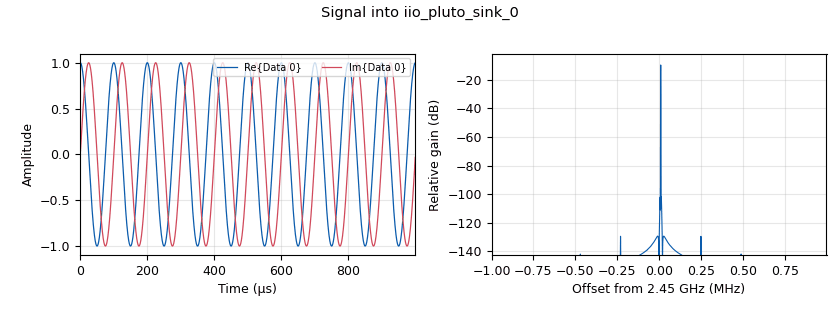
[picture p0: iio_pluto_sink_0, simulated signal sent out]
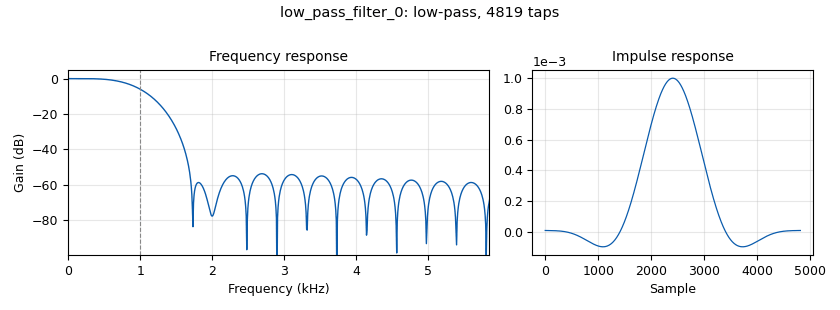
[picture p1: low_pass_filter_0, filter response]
options:
  parameters:
    generate_options: qt_gui
    id: Lab_8
    output_language: python
    title: Lab_8
  states: {}

blocks:
- name: freq
  id: variable
  parameters:
    value: '10000'
  states: {}
- name: samp_rate
  id: variable
  parameters:
    value: '2000000'
  states: {}
- name: analog_agc_xx_0
  id: analog_agc_xx
  parameters:
    gain: '1.0'
    max_gain: '65536'
    rate: '1e-4'
    reference: '1.0'
    type: complex
  states: {}
- name: analog_agc_xx_0_0
  id: analog_agc_xx
  parameters:
    gain: '1.0'
    max_gain: '65536'
    rate: '1e-4'
    reference: '1.0'
    type: complex
  states: {}
- name: analog_sig_source_x_0
  id: analog_sig_source_x
  parameters:
    amp: '1'
    freq: freq
    offset: '0'
    phase: '0'
    samp_rate: samp_rate
    type: complex
    waveform: analog.GR_COS_WAVE
  states: {}
- name: blocks_multiply_conjugate_cc_0
  id: blocks_multiply_conjugate_cc
  parameters: {}
  states: {}
- name: dc_blocker_xx_0
  id: dc_blocker_xx
  parameters:
    length: '32'
    long_form: 'True'
    type: cc
  states: {state: disabled}
- name: iio_pluto_sink_0
  id: iio_pluto_sink
  parameters:
    attenuation1: '20.0'
    auto_filter: 'True'
    bandwidth: '5000000'
    buffer_size: '32768'
    cyclic: 'False'
    frequency: '2450000000'
    samplerate: '2000000'
  states: {}
- name: iio_pluto_source_0
  id: iio_pluto_source
  parameters:
    auto_filter: 'True'
    bandwidth: '5000000'
    bbdc: 'True'
    buffer_size: '32768'
    frequency: '2450000000'
    gain1: '''slow_attack'''
    quadrature: 'True'
    rfdc: 'True'
    samplerate: '2000000'
  states: {}
- name: low_pass_filter_0
  id: low_pass_filter
  parameters:
    cutoff_freq: '1000'
    decim: '2048'
    gain: '1'
    samp_rate: samp_rate
    type: fir_filter_ccf
    width: '1000'
    win: firdes.WIN_HAMMING
  states: {}
- name: qtgui_sink_x_0
  id: qtgui_sink_x
  parameters:
    bw: '976'
    fc: '0'
    fftsize: '512'
    rate: '1000'
    type: complex
    wintype: firdes.WIN_BLACKMAN_hARRIS
  states: {}
- name: qtgui_waterfall_sink_x_0
  id: qtgui_waterfall_sink_x
  parameters:
    bw: '976'
    fc: '0'
    fftsize: '512'
    type: complex
    wintype: firdes.WIN_BLACKMAN_hARRIS
  states: {state: disabled}

connections:
- [analog_agc_xx_0, '0', blocks_multiply_conjugate_cc_0, '0']
- [analog_agc_xx_0_0, '0', blocks_multiply_conjugate_cc_0, '1']
- [analog_sig_source_x_0, '0', analog_agc_xx_0, '0']
- [analog_sig_source_x_0, '0', iio_pluto_sink_0, '0']
- [blocks_multiply_conjugate_cc_0, '0', low_pass_filter_0, '0']
- [dc_blocker_xx_0, '0', qtgui_sink_x_0, '0']
- [iio_pluto_source_0, '0', analog_agc_xx_0_0, '0']
- [low_pass_filter_0, '0', dc_blocker_xx_0, '0']
- [low_pass_filter_0, '0', qtgui_sink_x_0, '0']
- [low_pass_filter_0, '0', qtgui_waterfall_sink_x_0, '0']

metadata:
  file_format: 1
